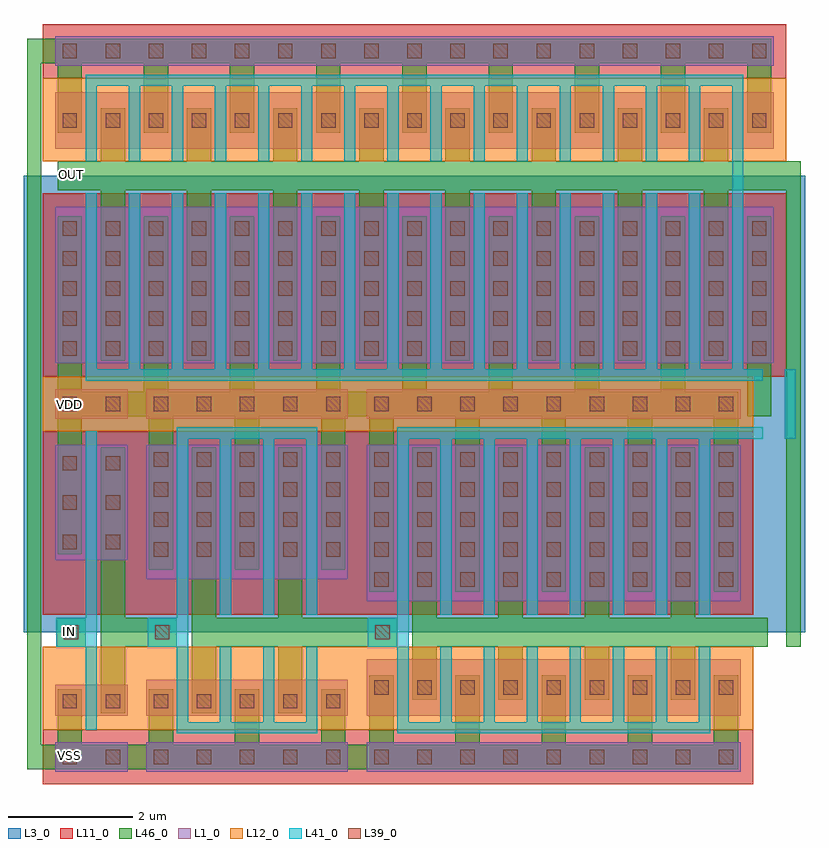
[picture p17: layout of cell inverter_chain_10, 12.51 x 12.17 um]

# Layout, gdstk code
import gdstk
lib = gdstk.Library(unit=1e-6, precision=1e-09)
def R(c, l, rs):  # rectangles x0, y0, x1, y1
    for r in rs: c.add(gdstk.rectangle(r[:2], r[2:], *l))
def A(c, l, x, y, w, h, nx, ny, dx, dy):  # array of equal rectangles
    R(c, l, [(x+i*dx, y+j*dy, x+i*dx+w, y+j*dy+h) for i in range(nx) for j in range(ny)])
L1_0 = (1, 0)
L3_0 = (3, 0)
L11_0 = (11, 0)
L12_0 = (12, 0)
L39_0 = (39, 0)
L41_0 = (41, 0)
L46_0 = (46, 0)

inverter_chain_10 = lib.new_cell('inverter_chain_10')
A(inverter_chain_10, L1_0, 7.785, 1.845, 1.85, 0.47, 4, 2, 1.38, 5.65)
A(inverter_chain_10, L1_0, 7.785, 2.735, 1.85, 0.91, 4, 1, 1.38, 0)
A(inverter_chain_10, L1_0, 7.785, 4.575, 1.85, 2.5, 4, 1, 1.38, 0)
A(inverter_chain_10, L1_0, 2.795, 8.385, 1.85, 2.5, 8, 1, 1.38, 0)
A(inverter_chain_10, L1_0, 2.795, 11.815, 1.85, 0.91, 8, 1, 1.38, 0)
A(inverter_chain_10, L1_0, 2.795, 13.145, 1.85, 0.47, 8, 1, 1.38, 0)
R(inverter_chain_10, L1_0, [(2.795,1.845,3.955,2.315), (4.255,1.845,6.105,2.315), (5.635,1.845,7.485,2.315), (2.795,2.735,3.955,3.235), (4.255,2.735,6.105,3.315), (5.635,2.735,7.485,3.315), (4.255,4.925,6.105,7.075), (5.635,4.925,7.485,7.075), (2.795,5.225,3.955,7.075), (2.795,7.495,3.955,7.965), (4.255,7.495,6.105,7.965), (5.635,7.495,7.485,7.965)])
A(inverter_chain_10, L3_0, 7.815, 4.075, 2.85, 7.31, 4, 1, 1.38, 0)
R(inverter_chain_10, L3_0, [(2.295,4.075,5.145,11.385), (3.675,4.075,6.525,11.385), (5.055,4.075,7.375,11.385), (6.435,4.075,8.755,11.385)])
A(inverter_chain_10, L11_0, 7.585, 1.645, 2.25, 0.87, 4, 1, 1.38, 0)
A(inverter_chain_10, L11_0, 7.585, 4.355, 2.25, 2.94, 4, 1, 1.38, 0)
A(inverter_chain_10, L11_0, 2.595, 8.165, 2.25, 2.94, 3, 1, 1.38, 0)
A(inverter_chain_10, L11_0, 8.115, 8.165, 2.25, 2.94, 4, 1, 1.38, 0)
A(inverter_chain_10, L11_0, 2.595, 12.945, 2.25, 0.87, 8, 1, 1.38, 0)
R(inverter_chain_10, L11_0, [(2.595,1.645,4.155,2.515), (4.055,1.645,6.305,2.515), (5.435,1.645,7.585,2.515), (2.595,4.355,4.155,7.295), (4.055,4.355,6.305,7.295), (5.435,4.355,7.585,7.295), (6.735,8.165,8.455,11.105)])
A(inverter_chain_10, L12_0, 7.585, 2.515, 2.25, 1.33, 4, 1, 1.38, 0)
A(inverter_chain_10, L12_0, 7.585, 7.295, 2.25, 0.87, 4, 1, 1.38, 0)
A(inverter_chain_10, L12_0, 2.595, 11.615, 2.25, 1.33, 8, 1, 1.38, 0)
R(inverter_chain_10, L12_0, [(2.595,2.515,4.155,3.845), (4.055,2.515,6.305,3.845), (5.435,2.515,7.585,3.845), (2.595,7.295,4.155,8.165), (4.055,7.295,6.305,8.165), (5.435,7.295,7.585,8.165)])
A(inverter_chain_10, L39_0, 4.375, 1.965, 0.23, 0.23, 3, 2, 0.69, 3.32)
A(inverter_chain_10, L39_0, 5.755, 1.965, 0.23, 0.23, 3, 2, 0.69, 3.32)
A(inverter_chain_10, L39_0, 7.905, 1.965, 0.23, 0.23, 3, 2, 0.69, 1.11)
A(inverter_chain_10, L39_0, 9.285, 1.965, 0.23, 0.23, 3, 2, 0.69, 1.11)
A(inverter_chain_10, L39_0, 10.665, 1.965, 0.23, 0.23, 3, 2, 0.69, 1.11)
A(inverter_chain_10, L39_0, 12.045, 1.965, 0.23, 0.23, 3, 2, 0.69, 1.11)
A(inverter_chain_10, L39_0, 4.375, 2.855, 0.23, 0.23, 5, 1, 0.69, 0)
A(inverter_chain_10, L39_0, 7.905, 4.805, 0.23, 0.23, 3, 5, 0.69, 0.48)
A(inverter_chain_10, L39_0, 9.285, 4.805, 0.23, 0.23, 3, 5, 0.69, 0.48)
A(inverter_chain_10, L39_0, 10.665, 4.805, 0.23, 0.23, 3, 5, 0.69, 0.48)
A(inverter_chain_10, L39_0, 12.045, 4.805, 0.23, 0.23, 3, 5, 0.69, 0.48)
A(inverter_chain_10, L39_0, 7.135, 5.285, 0.23, 0.23, 1, 4, 0, 0.48)
A(inverter_chain_10, L39_0, 2.915, 5.406, 0.23, 0.23, 1, 3, 0, 0.63)
A(inverter_chain_10, L39_0, 3.605, 5.406, 0.23, 0.23, 1, 3, 0, 0.63)
A(inverter_chain_10, L39_0, 4.375, 5.765, 0.23, 0.23, 3, 3, 0.69, 0.48)
A(inverter_chain_10, L39_0, 5.755, 5.765, 0.23, 0.23, 3, 3, 0.69, 0.48)
A(inverter_chain_10, L39_0, 4.375, 7.615, 0.23, 0.23, 3, 1, 0.69, 0)
A(inverter_chain_10, L39_0, 5.755, 7.615, 0.23, 0.23, 3, 1, 0.69, 0)
A(inverter_chain_10, L39_0, 7.905, 7.615, 0.23, 0.23, 3, 1, 0.69, 0)
A(inverter_chain_10, L39_0, 9.285, 7.615, 0.23, 0.23, 3, 1, 0.69, 0)
A(inverter_chain_10, L39_0, 10.665, 7.615, 0.23, 0.23, 3, 1, 0.69, 0)
A(inverter_chain_10, L39_0, 12.045, 7.615, 0.23, 0.23, 3, 1, 0.69, 0)
A(inverter_chain_10, L39_0, 2.915, 8.505, 0.23, 0.23, 3, 5, 0.69, 0.48)
A(inverter_chain_10, L39_0, 4.295, 8.505, 0.23, 0.23, 3, 5, 0.69, 0.48)
A(inverter_chain_10, L39_0, 5.675, 8.505, 0.23, 0.23, 3, 5, 0.69, 0.48)
A(inverter_chain_10, L39_0, 7.055, 8.505, 0.23, 0.23, 3, 5, 0.69, 0.48)
A(inverter_chain_10, L39_0, 8.435, 8.505, 0.23, 0.23, 3, 5, 0.69, 0.48)
A(inverter_chain_10, L39_0, 9.815, 8.505, 0.23, 0.23, 3, 5, 0.69, 0.48)
A(inverter_chain_10, L39_0, 11.195, 8.505, 0.23, 0.23, 3, 5, 0.69, 0.48)
A(inverter_chain_10, L39_0, 12.575, 8.505, 0.23, 0.23, 3, 5, 0.69, 0.48)
A(inverter_chain_10, L39_0, 2.915, 12.155, 0.23, 0.23, 3, 2, 0.69, 1.11)
A(inverter_chain_10, L39_0, 4.295, 12.155, 0.23, 0.23, 3, 2, 0.69, 1.11)
A(inverter_chain_10, L39_0, 5.675, 12.155, 0.23, 0.23, 3, 2, 0.69, 1.11)
A(inverter_chain_10, L39_0, 7.055, 12.155, 0.23, 0.23, 3, 2, 0.69, 1.11)
A(inverter_chain_10, L39_0, 8.435, 12.155, 0.23, 0.23, 3, 2, 0.69, 1.11)
A(inverter_chain_10, L39_0, 9.815, 12.155, 0.23, 0.23, 3, 2, 0.69, 1.11)
A(inverter_chain_10, L39_0, 11.195, 12.155, 0.23, 0.23, 3, 2, 0.69, 1.11)
A(inverter_chain_10, L39_0, 12.575, 12.155, 0.23, 0.23, 3, 2, 0.69, 1.11)
R(inverter_chain_10, L39_0, [(2.915,1.965,3.145,2.195), (3.605,1.965,3.835,2.195), (7.135,1.965,7.365,2.195), (2.915,2.855,3.145,3.085), (3.605,2.855,3.835,3.085), (2.935,3.96,3.165,4.19), (4.395,3.96,4.625,4.19), (7.925,3.96,8.155,4.19), (2.915,7.615,3.145,7.845), (3.605,7.615,3.835,7.845), (7.135,7.615,7.365,7.845)])
A(inverter_chain_10, L41_0, 5.435, 2.455, 0.18, 1.39, 3, 1, 0.69, 0)
A(inverter_chain_10, L41_0, 8.965, 2.455, 0.18, 1.39, 7, 1, 0.69, 0)
A(inverter_chain_10, L41_0, 5.435, 4.355, 0.18, 3, 3, 1, 0.69, 0)
A(inverter_chain_10, L41_0, 8.965, 4.355, 0.18, 3, 7, 1, 0.69, 0)
A(inverter_chain_10, L41_0, 3.285, 8.105, 0.18, 3, 15, 1, 0.69, 0)
A(inverter_chain_10, L41_0, 3.285, 11.615, 0.18, 1.39, 15, 1, 0.69, 0)
R(inverter_chain_10, L41_0, [(4.745,2.455,6.995,2.635), (4.745,2.455,4.925,7.355), (8.275,2.455,8.455,7.355), (8.275,2.455,13.285,2.635), (3.285,2.515,3.465,7.295), (2.815,3.84,3.285,4.31), (4.275,3.84,4.745,4.31), (7.805,3.84,8.275,4.31), (4.745,7.175,6.995,7.355), (8.275,7.175,14.13,7.355), (14.475,7.175,14.655,8.285), (3.285,8.105,14.125,8.285), (13.635,8.165,13.815,13.005), (3.285,12.825,13.815,13.005)])
A(inverter_chain_10, L46_0, 4.295, 1.885, 0.39, 1.28, 3, 1, 1.38, 0)
A(inverter_chain_10, L46_0, 7.825, 1.885, 1.77, 0.39, 4, 1, 1.38, 0)
A(inverter_chain_10, L46_0, 8.515, 2.995, 0.39, 4.04, 4, 1, 1.38, 0)
A(inverter_chain_10, L46_0, 9.205, 7.535, 1.77, 0.39, 3, 1, 1.38, 0)
A(inverter_chain_10, L46_0, 3.525, 8.425, 0.39, 4.04, 8, 1, 1.38, 0)
A(inverter_chain_10, L46_0, 4.215, 13.185, 1.77, 0.39, 7, 1, 1.38, 0)
R(inverter_chain_10, L46_0, [(2.345,1.885,2.575,13.575), (2.345,1.885,6.065,2.275), (2.835,1.885,3.225,3.165), (5.675,1.885,8.215,2.275), (7.825,1.885,8.215,3.385), (9.205,1.885,9.595,3.385), (9.205,1.885,9.595,3.385), (10.585,1.885,10.975,3.385), (10.585,1.885,10.975,3.385), (11.965,1.885,12.355,3.385), (11.965,1.885,12.355,3.385), (13.345,1.885,13.735,3.385), (3.525,2.775,3.915,7.035), (4.985,2.775,5.375,7.035), (6.365,2.775,6.755,7.035), (2.815,3.84,3.285,4.31), (3.525,3.84,4.745,4.31), (4.985,3.84,8.275,4.31), (8.515,3.84,14.205,4.31), (14.505,3.84,14.735,11.615), (7.825,4.725,8.215,7.925), (9.205,4.725,9.595,7.925), (9.205,4.725,9.595,7.925), (10.585,4.725,10.975,7.925), (10.585,4.725,10.975,7.925), (11.965,4.725,12.355,7.925), (11.965,4.725,12.355,7.925), (13.345,4.725,13.735,7.925), (4.295,5.075,4.685,7.925), (5.675,5.075,6.065,7.925), (5.675,5.075,6.065,7.925), (7.055,5.075,7.445,7.925), (7.055,5.075,7.445,7.925), (2.835,5.326,3.225,7.925), (2.835,7.535,3.225,10.735), (2.835,7.535,6.065,7.925), (4.215,7.535,4.605,10.735), (4.215,7.535,4.605,10.735), (5.595,7.535,5.985,10.735), (5.595,7.535,5.985,10.735), (5.675,7.535,7.445,7.925), (6.975,7.535,7.365,10.735), (6.975,7.535,7.365,10.735), (6.975,7.535,9.595,7.925), (8.355,7.535,8.745,10.735), (8.355,7.535,8.745,10.735), (9.735,7.535,10.125,10.735), (9.735,7.535,10.125,10.735), (11.115,7.535,11.505,10.735), (11.115,7.535,11.505,10.735), (12.495,7.535,12.885,10.735), (12.495,7.535,12.885,10.735), (13.875,7.535,14.265,10.735), (2.835,11.15,14.735,11.62), (2.835,12.075,3.225,13.575), (4.215,12.075,4.605,13.575), (4.215,12.075,4.605,13.575), (5.595,12.075,5.985,13.575), (5.595,12.075,5.985,13.575), (6.975,12.075,7.365,13.575), (6.975,12.075,7.365,13.575), (8.355,12.075,8.745,13.575), (8.355,12.075,8.745,13.575), (9.735,12.075,10.125,13.575), (9.735,12.075,10.125,13.575), (11.115,12.075,11.505,13.575), (11.115,12.075,11.505,13.575), (12.495,12.075,12.885,13.575), (12.495,12.075,12.885,13.575), (13.875,12.075,14.265,13.575), (2.345,13.185,4.605,13.575)])
inverter_chain_10.add(gdstk.Label('OUT', (3.06,11.4), layer=101, texttype=0))
inverter_chain_10.add(gdstk.Label('VDD', (3.025,7.73), layer=101, texttype=0))
inverter_chain_10.add(gdstk.Label('VSS', (3.025,2.095), layer=101, texttype=0))
inverter_chain_10.add(gdstk.Label('IN', (3.025,4.09), layer=101, texttype=0))

lib.write_gds('inverter_chain_10.gds')
